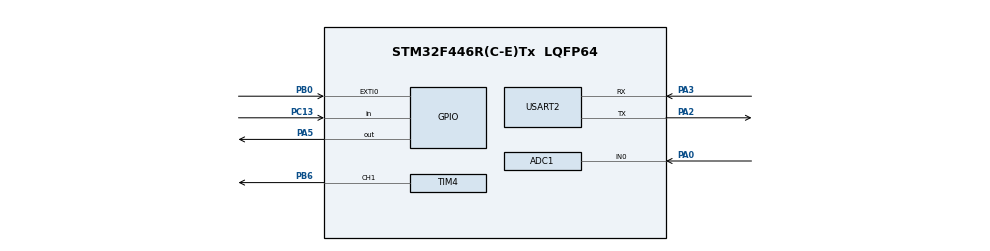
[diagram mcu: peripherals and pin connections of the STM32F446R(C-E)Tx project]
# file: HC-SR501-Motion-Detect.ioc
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ADC1.Channel-1\#ChannelRegularConversion=ADC_CHANNEL_0
ADC1.NbrOfConversionFlag=1
ADC1.Rank-1\#ChannelRegularConversion=1
ADC1.SamplingTime-1\#ChannelRegularConversion=ADC_SAMPLETIME_84CYCLES
ADC1.master=1
Mcu.Family=STM32F4
Mcu.Name=STM32F446R(C-E)Tx
Mcu.Package=LQFP64
NVIC.EXTI0_IRQn=true\:0\:0\:false\:false\:true\:true\:true\:true
NVIC.PriorityGroup=NVIC_PRIORITYGROUP_4
PA0-WKUP.Signal=ADCx_IN0
PA13.Mode=Serial_Wire
PA13.Signal=SYS_JTMS-SWDIO
PA14.Mode=Serial_Wire
PA14.Signal=SYS_JTCK-SWCLK
PA2.Mode=Asynchronous
PA2.Signal=USART2_TX
PA3.Mode=Asynchronous
PA3.Signal=USART2_RX
PA5.Signal=GPIO_Output
PB0.GPIO_PuPd=GPIO_PULLDOWN
PB0.Signal=GPXTI0
PB6.Signal=S_TIM4_CH1
PC13.Signal=GPIO_Input
ProjectManager.HeapSize=0x200
ProjectManager.StackSize=0x400
ProjectManager.TargetToolchain=STM32CubeIDE
RCC.CortexFreq_Value=16000000
RCC.USBFreq_Value=96000000
RCC.VCOOutputFreq_Value=192000000
SH.ADCx_IN0.0=ADC1_IN0,IN0
SH.S_TIM4_CH1.0=TIM4_CH1,PWM Generation1 CH1
TIM4.Channel-PWM\ Generation1\ CH1=TIM_CHANNEL_1
TIM4.Period=999
TIM4.Prescaler=15
USART2.VirtualMode=VM_ASYNC
VP_TIM4_VS_ClockSourceINT.Mode=Internal
board=custom

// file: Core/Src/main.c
/* USER CODE BEGIN Header */
/**
  ******************************************************************************
  * @file           : main.c
  * @brief          : Main program body
  ******************************************************************************
  * @attention
  *
  * Copyright (c) 2026 STMicroelectronics.
  * All rights reserved.
  *
  * This software is licensed under terms that can be found in the LICENSE file
  * in the root directory of this software component.
  * If no LICENSE file comes with this software, it is provided AS-IS.
  *
  ******************************************************************************
  */
/* USER CODE END Header */
#include "main.h"

/* USER CODE BEGIN Includes */
#include <stdio.h>
#include <string.h>
/* USER CODE END Includes */

/* USER CODE BEGIN PD */
#define DARK_TH 1500
/* USER CODE END PD */

ADC_HandleTypeDef hadc1;

TIM_HandleTypeDef htim4;

UART_HandleTypeDef huart2;

/* USER CODE BEGIN PV */
volatile uint8_t motion_flag = 0;
uint8_t armed = 0;
uint8_t btn_prev = 0;
uint8_t dark = 0;
uint8_t alarm_active = 0;
uint8_t buzzer_on = 0;
uint16_t ldr = 0;
uint32_t alarm_start = 0;
uint32_t last_toggle = 0;
uint32_t last_sense = 0;
/* USER CODE END PV */

void SystemClock_Config(void);
static void MX_GPIO_Init(void);
static void MX_USART2_UART_Init(void);
static void MX_TIM4_Init(void);
static void MX_ADC1_Init(void);

/* USER CODE BEGIN 0 */
void uart_print(const char *s)
{
    HAL_UART_Transmit(&huart2, (uint8_t*)s, strlen(s), 100);
}

uint16_t read_ldr(void)
{
    HAL_ADC_Start(&hadc1);
    HAL_ADC_PollForConversion(&hadc1, 10);
    uint16_t v = HAL_ADC_GetValue(&hadc1);
    HAL_ADC_Stop(&hadc1);
    return v;
}
/* USER CODE END 0 */

int main(void)
{

  /* MCU Configuration--------------------------------------------------------*/

  /* Reset of all peripherals, Initializes the Flash interface and the Systick. */
  HAL_Init();

  /* Configure the system clock */
  SystemClock_Config();

  /* Initialize all configured peripherals */
  MX_GPIO_Init();
  MX_USART2_UART_Init();
  MX_TIM4_Init();
  MX_ADC1_Init();
  /* USER CODE BEGIN 2 */
  HAL_TIM_PWM_Start(&htim4, TIM_CHANNEL_1);
  __HAL_TIM_SET_COMPARE(&htim4, TIM_CHANNEL_1, 0);
  /* USER CODE END 2 */

  /* Infinite loop */
  while (1)
  {

    /* USER CODE BEGIN 3 */
	  uint32_t now = HAL_GetTick();

	      // 1) Her 200 ms'de B1 ve LDR kontrolü
	      if (now - last_sense >= 200)
	      {
	          last_sense = now;

	          uint8_t btn = (HAL_GPIO_ReadPin(GPIOC, GPIO_PIN_13) == GPIO_PIN_RESET);

	          if (btn && !btn_prev)          // butona yeni basıldı
	          {
	              armed = !armed;            // toggle

	              if (armed)
	              {
	                  uart_print("SYSTEM ARMED\r\n");
	              }
	              else
	              {
	                  uart_print("SYSTEM DISARMED\r\n");
	                  alarm_active = 0;
	                  buzzer_on = 0;
	                  dark = 0;
	                  motion_flag = 0;
	                  __HAL_TIM_SET_COMPARE(&htim4, TIM_CHANNEL_1, 0);
	              }
	          }
	          btn_prev = btn;

	          if (armed)
	          {
	              char buf[40];
	              ldr = read_ldr();

	              if (!dark && ldr < DARK_TH)
	              {
	                  dark = 1;
	                  snprintf(buf, sizeof(buf), "Dark (LDR=%u)\r\n", ldr);
	                  uart_print(buf);
	              }
	              else if (dark && ldr > DARK_TH + 300)   // +300: LED titremesin diye pay
	              {
	                  dark = 0;
	                  snprintf(buf, sizeof(buf), "Light (LDR=%u)\r\n", ldr);
	                  uart_print(buf);
	              }
	          }
	      }

	      // 2) Hareket geldi mi? (sistem kapalıysa yok say)
	      if (motion_flag)
	      {
	          motion_flag = 0;

	          if (armed)
	          {
	              alarm_start = now;

	              if (!alarm_active)
	              {
	                  alarm_active = 1;
	                  uart_print("ALARM ON\r\n");
	              }
	              else
	              {
	                  uart_print("Motion again, alarm extended\r\n");
	              }
	          }
	      }

	      // 3) Alarm: buzzer ve LED birlikte yanıp söner, 10 sn sonra kapanır
	      if (alarm_active)
	      {
	          if (now - last_toggle >= 250)
	          {
	              last_toggle = now;
	              buzzer_on = !buzzer_on;
	              __HAL_TIM_SET_COMPARE(&htim4, TIM_CHANNEL_1, buzzer_on ? 500 : 0);
	              HAL_GPIO_WritePin(GPIOA, GPIO_PIN_5, buzzer_on ? GPIO_PIN_SET : GPIO_PIN_RESET);
	          }

	          if (now - alarm_start >= 10000)
	          {
	              alarm_active = 0;
	              buzzer_on = 0;
	              __HAL_TIM_SET_COMPARE(&htim4, TIM_CHANNEL_1, 0);
	              uart_print("ALARM OFF\r\n");
	          }
	      }

	      // 4) Alarm yokken LED sadece "sistem açık ve karanlık" ise yanar
	      if (!alarm_active)
	      {
	          HAL_GPIO_WritePin(GPIOA, GPIO_PIN_5, (armed && dark) ? GPIO_PIN_SET : GPIO_PIN_RESET);
	      }
}
  }
  /* USER CODE END 3 */

void SystemClock_Config(void)
{
  RCC_OscInitTypeDef RCC_OscInitStruct = {0};
  RCC_ClkInitTypeDef RCC_ClkInitStruct = {0};

  /** Configure the main internal regulator output voltage
  */
  __HAL_RCC_PWR_CLK_ENABLE();
  __HAL_PWR_VOLTAGESCALING_CONFIG(PWR_REGULATOR_VOLTAGE_SCALE3);

  /** Initializes the RCC Oscillators according to the specified parameters
  * in the RCC_OscInitTypeDef structure.
  */
  RCC_OscInitStruct.OscillatorType = RCC_OSCILLATORTYPE_HSI;
  RCC_OscInitStruct.HSIState = RCC_HSI_ON;
  RCC_OscInitStruct.HSICalibrationValue = RCC_HSICALIBRATION_DEFAULT;
  RCC_OscInitStruct.PLL.PLLState = RCC_PLL_NONE;
  if (HAL_RCC_OscConfig(&RCC_OscInitStruct) != HAL_OK)
  {
    Error_Handler();
  }

  /** Initializes the CPU, AHB and APB buses clocks
  */
  RCC_ClkInitStruct.ClockType = RCC_CLOCKTYPE_HCLK|RCC_CLOCKTYPE_SYSCLK
                              |RCC_CLOCKTYPE_PCLK1|RCC_CLOCKTYPE_PCLK2;
  RCC_ClkInitStruct.SYSCLKSource = RCC_SYSCLKSOURCE_HSI;
  RCC_ClkInitStruct.AHBCLKDivider = RCC_SYSCLK_DIV1;
  RCC_ClkInitStruct.APB1CLKDivider = RCC_HCLK_DIV1;
  RCC_ClkInitStruct.APB2CLKDivider = RCC_HCLK_DIV1;

  if (HAL_RCC_ClockConfig(&RCC_ClkInitStruct, FLASH_LATENCY_0) != HAL_OK)
  {
    Error_Handler();
  }
}

static void MX_ADC1_Init(void)
{

  ADC_ChannelConfTypeDef sConfig = {0};

  /** Configure the global features of the ADC (Clock, Resolution, Data Alignment and number of conversion)
  */
  hadc1.Instance = ADC1;
  hadc1.Init.ClockPrescaler = ADC_CLOCK_SYNC_PCLK_DIV2;
  hadc1.Init.Resolution = ADC_RESOLUTION_12B;
  hadc1.Init.ScanConvMode = DISABLE;
  hadc1.Init.ContinuousConvMode = DISABLE;
  hadc1.Init.DiscontinuousConvMode = DISABLE;
  hadc1.Init.ExternalTrigConvEdge = ADC_EXTERNALTRIGCONVEDGE_NONE;
  hadc1.Init.ExternalTrigConv = ADC_SOFTWARE_START;
  hadc1.Init.DataAlign = ADC_DATAALIGN_RIGHT;
  hadc1.Init.NbrOfConversion = 1;
  hadc1.Init.DMAContinuousRequests = DISABLE;
  hadc1.Init.EOCSelection = ADC_EOC_SINGLE_CONV;
  if (HAL_ADC_Init(&hadc1) != HAL_OK)
  {
    Error_Handler();
  }

  /** Configure for the selected ADC regular channel its corresponding rank in the sequencer and its sample time.
  */
  sConfig.Channel = ADC_CHANNEL_0;
  sConfig.Rank = 1;
  sConfig.SamplingTime = ADC_SAMPLETIME_84CYCLES;
  if (HAL_ADC_ConfigChannel(&hadc1, &sConfig) != HAL_OK)
  {
    Error_Handler();
  }

}

static void MX_TIM4_Init(void)
{

  TIM_ClockConfigTypeDef sClockSourceConfig = {0};
  TIM_MasterConfigTypeDef sMasterConfig = {0};
  TIM_OC_InitTypeDef sConfigOC = {0};

  htim4.Instance = TIM4;
  htim4.Init.Prescaler = 15;
  htim4.Init.CounterMode = TIM_COUNTERMODE_UP;
  htim4.Init.Period = 999;
  htim4.Init.ClockDivision = TIM_CLOCKDIVISION_DIV1;
  htim4.Init.AutoReloadPreload = TIM_AUTORELOAD_PRELOAD_DISABLE;
  if (HAL_TIM_Base_Init(&htim4) != HAL_OK)
  {
    Error_Handler();
  }
  sClockSourceConfig.ClockSource = TIM_CLOCKSOURCE_INTERNAL;
  if (HAL_TIM_ConfigClockSource(&htim4, &sClockSourceConfig) != HAL_OK)
  {
    Error_Handler();
  }
  if (HAL_TIM_PWM_Init(&htim4) != HAL_OK)
  {
    Error_Handler();
  }
  sMasterConfig.MasterOutputTrigger = TIM_TRGO_RESET;
  sMasterConfig.MasterSlaveMode = TIM_MASTERSLAVEMODE_DISABLE;
  if (HAL_TIMEx_MasterConfigSynchronization(&htim4, &sMasterConfig) != HAL_OK)
  {
    Error_Handler();
  }
  sConfigOC.OCMode = TIM_OCMODE_PWM1;
  sConfigOC.Pulse = 0;
  sConfigOC.OCPolarity = TIM_OCPOLARITY_HIGH;
  sConfigOC.OCFastMode = TIM_OCFAST_DISABLE;
  if (HAL_TIM_PWM_ConfigChannel(&htim4, &sConfigOC, TIM_CHANNEL_1) != HAL_OK)
  {
    Error_Handler();
  }
  HAL_TIM_MspPostInit(&htim4);

}

static void MX_USART2_UART_Init(void)
{

  huart2.Instance = USART2;
  huart2.Init.BaudRate = 115200;
  huart2.Init.WordLength = UART_WORDLENGTH_8B;
  huart2.Init.StopBits = UART_STOPBITS_1;
  huart2.Init.Parity = UART_PARITY_NONE;
  huart2.Init.Mode = UART_MODE_TX_RX;
  huart2.Init.HwFlowCtl = UART_HWCONTROL_NONE;
  huart2.Init.OverSampling = UART_OVERSAMPLING_16;
  if (HAL_UART_Init(&huart2) != HAL_OK)
  {
    Error_Handler();
  }

}

static void MX_GPIO_Init(void)
{
  GPIO_InitTypeDef GPIO_InitStruct = {0};

  /* GPIO Ports Clock Enable */
  __HAL_RCC_GPIOC_CLK_ENABLE();
  __HAL_RCC_GPIOA_CLK_ENABLE();
  __HAL_RCC_GPIOB_CLK_ENABLE();

  /*Configure GPIO pin Output Level */
  HAL_GPIO_WritePin(GPIOA, GPIO_PIN_5, GPIO_PIN_RESET);

  /*Configure GPIO pin : PC13 */
  GPIO_InitStruct.Pin = GPIO_PIN_13;
  GPIO_InitStruct.Mode = GPIO_MODE_INPUT;
  GPIO_InitStruct.Pull = GPIO_NOPULL;
  HAL_GPIO_Init(GPIOC, &GPIO_InitStruct);

  /*Configure GPIO pin : PA5 */
  GPIO_InitStruct.Pin = GPIO_PIN_5;
  GPIO_InitStruct.Mode = GPIO_MODE_OUTPUT_PP;
  GPIO_InitStruct.Pull = GPIO_NOPULL;
  GPIO_InitStruct.Speed = GPIO_SPEED_FREQ_LOW;
  HAL_GPIO_Init(GPIOA, &GPIO_InitStruct);

  /*Configure GPIO pin : PB0 */
  GPIO_InitStruct.Pin = GPIO_PIN_0;
  GPIO_InitStruct.Mode = GPIO_MODE_IT_RISING;
  GPIO_InitStruct.Pull = GPIO_PULLDOWN;
  HAL_GPIO_Init(GPIOB, &GPIO_InitStruct);

  /* EXTI interrupt init*/
  HAL_NVIC_SetPriority(EXTI0_IRQn, 0, 0);
  HAL_NVIC_EnableIRQ(EXTI0_IRQn);

}

/* USER CODE BEGIN 4 */
void HAL_GPIO_EXTI_Callback(uint16_t GPIO_Pin)
{
    if (GPIO_Pin == GPIO_PIN_0)
    {
        motion_flag = 1;
    }
}
/* USER CODE END 4 */

void Error_Handler(void)
{
  __disable_irq();
  while (1)
  {
  }
}
